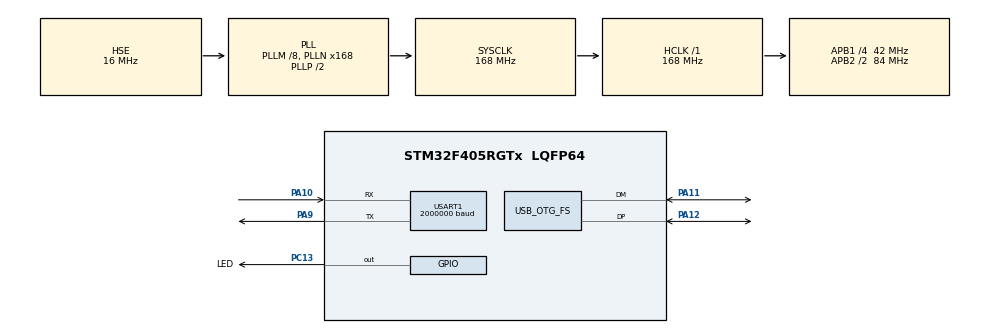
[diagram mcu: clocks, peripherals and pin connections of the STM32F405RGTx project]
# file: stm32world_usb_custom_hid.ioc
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Mcu.Family=STM32F4
Mcu.Name=STM32F405RGTx
Mcu.Package=LQFP64
NVIC.OTG_FS_IRQn=true\:0\:0\:false\:false\:true\:false\:true\:true
NVIC.PriorityGroup=NVIC_PRIORITYGROUP_4
PA10.Mode=Asynchronous
PA10.Signal=USART1_RX
PA11.Mode=Device_Only
PA11.Signal=USB_OTG_FS_DM
PA12.Mode=Device_Only
PA12.Signal=USB_OTG_FS_DP
PA13.Mode=Trace_Asynchronous_SW
PA13.Signal=SYS_JTMS-SWDIO
PA14.Mode=Trace_Asynchronous_SW
PA14.Signal=SYS_JTCK-SWCLK
PA9.Mode=Asynchronous
PA9.Signal=USART1_TX
PB3.Mode=Trace_Asynchronous_SW
PB3.Signal=SYS_JTDO-SWO
PC13-ANTI_TAMP.GPIO_Label=LED
PC13-ANTI_TAMP.GPIO_ModeDefaultOutputPP=GPIO_MODE_OUTPUT_OD
PC13-ANTI_TAMP.GPIO_PuPd=GPIO_NOPULL
PC13-ANTI_TAMP.PinState=GPIO_PIN_SET
PC13-ANTI_TAMP.Signal=GPIO_Output
PH0-OSC_IN.Mode=HSE-External-Oscillator
PH0-OSC_IN.Signal=RCC_OSC_IN
PH1-OSC_OUT.Mode=HSE-External-Oscillator
PH1-OSC_OUT.Signal=RCC_OSC_OUT
ProjectManager.HeapSize=0x200
ProjectManager.StackSize=0x400
ProjectManager.TargetToolchain=STM32CubeIDE
RCC.48MHZClocksFreq_Value=48000000
RCC.AHBFreq_Value=168000000
RCC.APB1CLKDivider=RCC_HCLK_DIV4
RCC.APB1Freq_Value=42000000
RCC.APB1TimFreq_Value=84000000
RCC.APB2CLKDivider=RCC_HCLK_DIV2
RCC.APB2Freq_Value=84000000
RCC.APB2TimFreq_Value=168000000
RCC.CortexFreq_Value=168000000
RCC.HCLKFreq_Value=168000000
RCC.HSE_VALUE=16000000
RCC.HSI_VALUE=16000000
RCC.LSE_VALUE=32768
RCC.PLLM=8
RCC.PLLN=168
RCC.PLLQ=7
RCC.SYSCLKFreq_VALUE=168000000
RCC.SYSCLKSource=RCC_SYSCLKSOURCE_PLLCLK
RCC.VCOOutputFreq_Value=336000000
USART1.BaudRate=2000000
USART1.VirtualMode=VM_ASYNC
USB_DEVICE.CLASS_NAME_FS=CUSTOM_HID
USB_DEVICE.MANUFACTURER_STRING-CUSTOM_HID_FS=STM32World
USB_DEVICE.PID_CUSTOMHID_FS=22123 
USB_DEVICE.PRODUCT_STRING_CUSTOMHID_FS=Custom HID
USB_DEVICE.USBD_CUSTOMHID_OUTREPORT_BUF_SIZE-CUSTOM_HID_FS=64
USB_DEVICE.USBD_CUSTOM_HID_REPORT_DESC_SIZE-CUSTOM_HID_FS=24
USB_DEVICE.USBD_DEBUG_LEVEL-CUSTOM_HID_FS=3
USB_DEVICE.USBD_SELF_POWERED-CUSTOM_HID_FS=0
USB_DEVICE.VirtualMode-CUSTOM_HID_FS=CustomHid
USB_DEVICE.VirtualModeFS=Custom_Hid_FS
USB_OTG_FS.VirtualMode=Device_Only
VP_USB_DEVICE_VS_USB_DEVICE_CUSTOM_HID_FS.Mode=CUSTOM_HID_FS
board=custom

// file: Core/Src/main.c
/* USER CODE BEGIN Header */
/**
 ******************************************************************************
 * @file           : main.c
 * @brief          : Main program body
 ******************************************************************************
 * @attention
 *
 * Copyright (c) 2025 Lars Boegild Thomsen <lth@stm32world.com>
 * All rights reserved.
 *
 * This software is licensed under terms that can be found in the LICENSE file
 * in the root directory of this software component.
 * If no LICENSE file comes with this software, it is provided AS-IS.
 *
 ******************************************************************************
 */
/* USER CODE END Header */
#include "main.h"
#include "usb_device.h"

/* USER CODE BEGIN Includes */
#include <stdio.h>
#include "usbd_customhid.h"
/* USER CODE END Includes */

UART_HandleTypeDef huart1;

/* USER CODE BEGIN PV */
extern USBD_HandleTypeDef hUsbDeviceFS;

uint8_t in_report[64] = { 0 };

uint32_t *now = (uint32_t*) &in_report[0];
uint32_t *loop = (uint32_t*) &in_report[4];
uint32_t *v = (uint32_t*) &in_report[8];

//uint32_t v = 0;
/* USER CODE END PV */

void SystemClock_Config(void);
static void MX_GPIO_Init(void);
static void MX_USART1_UART_Init(void);

/* USER CODE BEGIN 0 */

// Send stdout to USART1 and stderr to SWO
int _write(int fd, char *ptr, int len) {

    if (fd == 1) {
        HAL_StatusTypeDef hstatus;
        hstatus = HAL_UART_Transmit(&huart1, (uint8_t*) ptr, len, HAL_MAX_DELAY);
        if (hstatus == HAL_OK)
            return len;
        else
            return -1;
    } else if (fd == 2) {
        for (int i = 0; i < len; i++) {
            ITM_SendChar(ptr[i]); /* core_cm4.h */
        }
        return len;
    } else {
        return -1;
    }
    return -1;
}

void CUSTOM_HID_OutEvent_FS_Handler(uint8_t *buffer) {

    printf("Recv buffer: 0x%02x, 0x%02x 0x%02x 0x%02x 0x%02x\n", buffer[0], buffer[1], buffer[2], buffer[3], buffer[4]);

    switch (buffer[0]) {

    case 1:

        uint32_t new = ((uint32_t) buffer[1] << 24) | ((uint32_t) buffer[2] << 16) | ((uint32_t) buffer[3] << 8) | buffer[4];

        printf("Setting v to: 0x%08lx\n", new);

        *v = new;

        break;

    default:
        printf("Unsupported function!\n");

    }

}

/* USER CODE END 0 */

int main(void)
{

    /* MCU Configuration--------------------------------------------------------*/

    /* Reset of all peripherals, Initializes the Flash interface and the Systick. */
    HAL_Init();

    /* Configure the system clock */
    SystemClock_Config();

    /* Initialize all configured peripherals */
    MX_GPIO_Init();
    MX_USART1_UART_Init();
    MX_USB_DEVICE_Init();
    /* USER CODE BEGIN 2 */

    printf("\n\n\n-------------\nStarting USB HID Test\n");

    /* USER CODE END 2 */

    /* Infinite loop */
    /* USER CODE BEGIN WHILE */

    uint32_t next_blink = 500, next_tick = 1000;

    while (1) {

        *now = uwTick;

        if (*now >= next_blink) {
            HAL_GPIO_TogglePin(LED_GPIO_Port, LED_Pin);
            next_blink = *now + 500;
        }

        if (*now >= next_tick) {

            uint8_t r = USBD_CUSTOM_HID_SendReport(&hUsbDeviceFS, (uint8_t*) in_report, 64);

            printf("Tick %lu (loop=%lu v=%lu r=%d)\n", *now / 1000, *loop, *v, r);

            *loop = 0;
            next_tick = *now + 1000;

        }

        ++*loop;
        /* USER CODE END WHILE */

    }
}

void SystemClock_Config(void)
{
    RCC_OscInitTypeDef RCC_OscInitStruct = { 0 };
    RCC_ClkInitTypeDef RCC_ClkInitStruct = { 0 };

    /** Configure the main internal regulator output voltage
     */
    __HAL_RCC_PWR_CLK_ENABLE();
    __HAL_PWR_VOLTAGESCALING_CONFIG(PWR_REGULATOR_VOLTAGE_SCALE1);

    /** Initializes the RCC Oscillators according to the specified parameters
     * in the RCC_OscInitTypeDef structure.
     */
    RCC_OscInitStruct.OscillatorType = RCC_OSCILLATORTYPE_HSE;
    RCC_OscInitStruct.HSEState = RCC_HSE_ON;
    RCC_OscInitStruct.PLL.PLLState = RCC_PLL_ON;
    RCC_OscInitStruct.PLL.PLLSource = RCC_PLLSOURCE_HSE;
    RCC_OscInitStruct.PLL.PLLM = 8;
    RCC_OscInitStruct.PLL.PLLN = 168;
    RCC_OscInitStruct.PLL.PLLP = RCC_PLLP_DIV2;
    RCC_OscInitStruct.PLL.PLLQ = 7;
    if (HAL_RCC_OscConfig(&RCC_OscInitStruct) != HAL_OK)
            {
        Error_Handler();
    }

    /** Initializes the CPU, AHB and APB buses clocks
     */
    RCC_ClkInitStruct.ClockType = RCC_CLOCKTYPE_HCLK | RCC_CLOCKTYPE_SYSCLK
            | RCC_CLOCKTYPE_PCLK1 | RCC_CLOCKTYPE_PCLK2;
    RCC_ClkInitStruct.SYSCLKSource = RCC_SYSCLKSOURCE_PLLCLK;
    RCC_ClkInitStruct.AHBCLKDivider = RCC_SYSCLK_DIV1;
    RCC_ClkInitStruct.APB1CLKDivider = RCC_HCLK_DIV4;
    RCC_ClkInitStruct.APB2CLKDivider = RCC_HCLK_DIV2;

    if (HAL_RCC_ClockConfig(&RCC_ClkInitStruct, FLASH_LATENCY_5) != HAL_OK)
            {
        Error_Handler();
    }
}

static void MX_USART1_UART_Init(void)
{

    huart1.Instance = USART1;
    huart1.Init.BaudRate = 2000000;
    huart1.Init.WordLength = UART_WORDLENGTH_8B;
    huart1.Init.StopBits = UART_STOPBITS_1;
    huart1.Init.Parity = UART_PARITY_NONE;
    huart1.Init.Mode = UART_MODE_TX_RX;
    huart1.Init.HwFlowCtl = UART_HWCONTROL_NONE;
    huart1.Init.OverSampling = UART_OVERSAMPLING_16;
    if (HAL_UART_Init(&huart1) != HAL_OK)
            {
        Error_Handler();
    }

}

static void MX_GPIO_Init(void)
{
    GPIO_InitTypeDef GPIO_InitStruct = { 0 };

    /* GPIO Ports Clock Enable */
    __HAL_RCC_GPIOC_CLK_ENABLE();
    __HAL_RCC_GPIOH_CLK_ENABLE();
    __HAL_RCC_GPIOA_CLK_ENABLE();
    __HAL_RCC_GPIOB_CLK_ENABLE();

    /*Configure GPIO pin Output Level */
    HAL_GPIO_WritePin(LED_GPIO_Port, LED_Pin, GPIO_PIN_SET);

    /*Configure GPIO pin : LED_Pin */
    GPIO_InitStruct.Pin = LED_Pin;
    GPIO_InitStruct.Mode = GPIO_MODE_OUTPUT_OD;
    GPIO_InitStruct.Pull = GPIO_NOPULL;
    GPIO_InitStruct.Speed = GPIO_SPEED_FREQ_LOW;
    HAL_GPIO_Init(LED_GPIO_Port, &GPIO_InitStruct);

}

void Error_Handler(void)
{
    __disable_irq();
    while (1)
    {
    }
}
